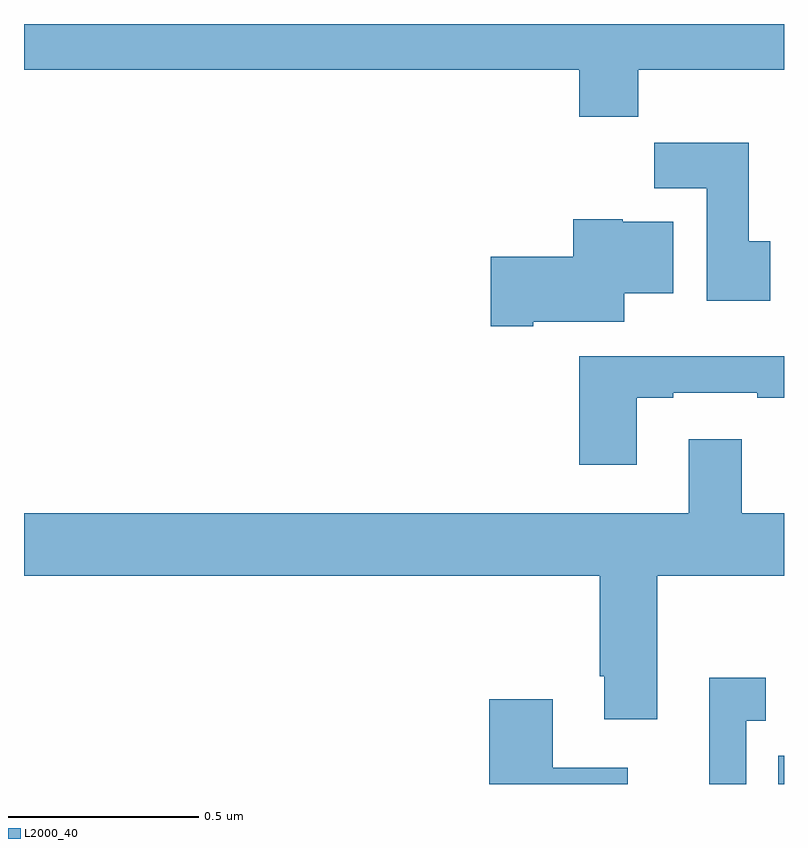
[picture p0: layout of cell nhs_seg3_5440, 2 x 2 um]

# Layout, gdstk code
import gdstk
lib = gdstk.Library(unit=1e-6, precision=1e-09)
def R(c, l, rs):  # rectangles x0, y0, x1, y1
    for r in rs: c.add(gdstk.rectangle(r[:2], r[2:], *l))
def P(c, l, *ps):  # polygons
    for p in ps: c.add(gdstk.Polygon(p, *l))
L2000_40 = (2000, 40)

nhs_seg3_5440 = lib.new_cell('nhs_seg3_5440')
R(nhs_seg3_5440, L2000_40, [(180.985,668.4,181,668.475)])
P(nhs_seg3_5440, L2000_40, [(180.617,670.28),(181,670.28),(181,670.4),(179,670.4),(179,670.28),(180.461,670.28),(180.461,670.156),(180.617,670.156)],
  [(180.964,669.828),(180.907,669.828),(180.907,670.087),(180.658,670.087),(180.658,669.968),(180.797,669.968),(180.797,669.672),(180.964,669.672)],
  [(180.34,669.617),(180.58,669.617),(180.58,669.692),(180.709,669.692),(180.709,669.88),(180.576,669.88),(180.576,669.886),(180.446,669.886),(180.446,669.788),(180.228,669.788),(180.228,669.605),(180.34,669.605)],
  [(180.613,669.417),(180.709,669.417),(180.709,669.429),(180.929,669.429),(180.929,669.417),(181,669.417),(181,669.526),(180.461,669.526),(180.461,669.24),(180.613,669.24)],
  [(180.667,668.948),(181,668.948),(181,669.112),(180.889,669.112),(180.889,669.307),(180.749,669.307),(180.749,669.112),(179,669.112),(179,668.948),(180.515,668.948),(180.515,668.683),(180.527,668.683),(180.527,668.571),(180.667,668.571)],
  [(180.9,668.567),(180.952,668.567),(180.952,668.68),(180.803,668.68),(180.803,668.4),(180.9,668.4)],
  [(180.589,668.443),(180.391,668.443),(180.391,668.623),(180.224,668.623),(180.224,668.4),(180.589,668.4)])

lib.write_gds('nhs_seg3_5440.gds')
